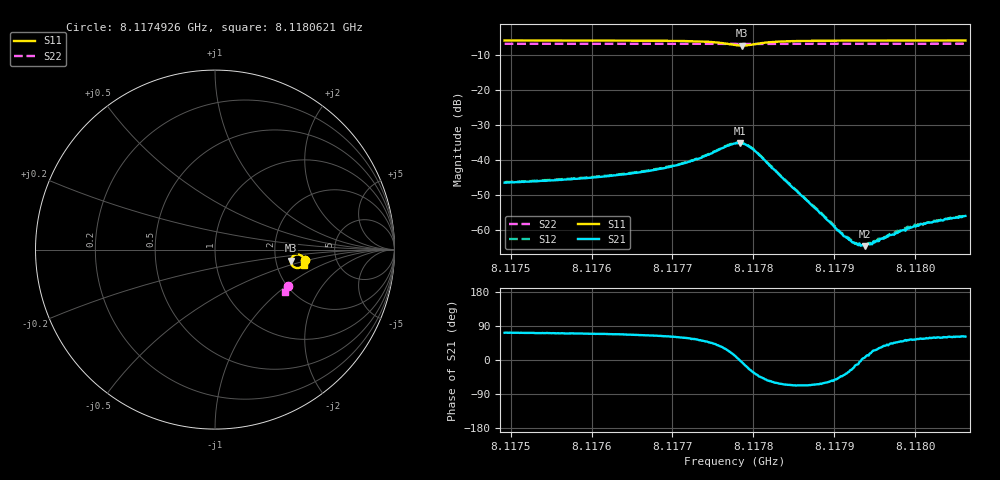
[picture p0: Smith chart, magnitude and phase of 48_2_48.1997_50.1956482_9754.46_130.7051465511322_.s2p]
#  HZ  S  RI  R  50.00
! Rohde & Schwarz Vector Network Analyzer
! Rohde-Schwarz,ZNB20-2Port,1311601062101988,3.16
! Created: UTC 3/20/2024, 11:38:09 AM
! freq[Hz]  re:S11  im:S11  re:S21  im:S21  re:S12  im:S12  re:S22  im:S22
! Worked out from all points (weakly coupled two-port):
!   401 points, 8.1174926 GHz to 8.1180621 GHz, reference 50 ohm
!   highest |S21| = -35.16 dB at 8.117783 GHz (marker M1); lowest = -64.7 dB at 8.1179382 GHz (marker M2)
!   lowest |S11| = -7.4 dB at 8.1177859 GHz (marker M3), VSWR 2.49, Z = 121 - j18.1 ohm
!   |S11| at or under -10 dB: nowhere
!   |S22| runs from -6.9 to -6.9 dB; largest |S21 - S12| = 0.00054
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8.11749257e9  0.5018 -0.0574  0.00147 0.00449  0.00153 0.00454  0.4048 -0.2014
8.11758797e9  0.4995 -0.0677  0.00186 0.00512  0.00197 0.00517  0.402 -0.2076
8.11764065e9  0.4974 -0.0749  0.00239 0.00575  0.00253 0.00583  0.4003 -0.2111
8.11768337e9  0.4935 -0.0828  0.00329 0.00662  0.00336 0.00668  0.3988 -0.2139
8.11772751e9  0.4827 -0.0949  0.00569 0.00825  0.00585 0.00819  0.3968 -0.217
8.11776026e9  0.4542 -0.1024  0.0119 0.00835  0.0121 0.00832  0.3947 -0.2189
8.11777734e9  0.4268 -0.0836  0.0167 0.00322  0.0172 0.00304  0.3932 -0.2188
8.11778304e9  0.4221 -0.0692  0.0175 -9.4e-05  0.0176 -0.000193  0.3929 -0.2186
8.11778589e9  0.4221 -0.0611  0.017 -0.00168  0.0173 -0.00201  0.393 -0.2183
8.11779301e9  0.4293 -0.0426  0.015 -0.00546  0.0153 -0.00571  0.3931 -0.218
8.11780297e9  0.4487 -0.0287  0.0104 -0.00796  0.0105 -0.00816  0.394 -0.2182
8.11783003e9  0.4841 -0.0359  0.00318 -0.00569  0.00307 -0.00577  0.3946 -0.2206
8.11787274e9  0.4966 -0.0544  0.000925 -0.00201  0.000915 -0.00207  0.3934 -0.224
8.11791261e9  0.4984 -0.0643  0.000625 -0.000509  0.000648 -0.000522  0.3922 -0.2268
8.11792827e9  0.4987 -0.0672  0.00062 -0.000133  0.00061 -9.92e-05  0.3917 -0.2279
8.11793824e9  0.4988 -0.069  0.00058 7.77e-05  0.000621 4.99e-05  0.3915 -0.2287
8.11794679e9  0.4987 -0.0703  0.000578 0.000234  0.000631 0.000208  0.3912 -0.2291
8.11796814e9  0.4987 -0.0734  0.000638 0.000558  0.000658 0.000566  0.3905 -0.2305
8.11799093e9  0.4987 -0.0763  0.000646 0.000847  0.000693 0.000873  0.3897 -0.2321
8.11800801e9  0.4984 -0.0784  0.000678 0.001  0.000667 0.00101  0.3892 -0.233
8.11803507e9  0.4981 -0.0814  0.000672 0.00119  0.000732 0.00122  0.3883 -0.2348
8.11806212e9  0.4977 -0.0842  0.000747 0.00139  0.000748 0.00141  0.3873 -0.2365
